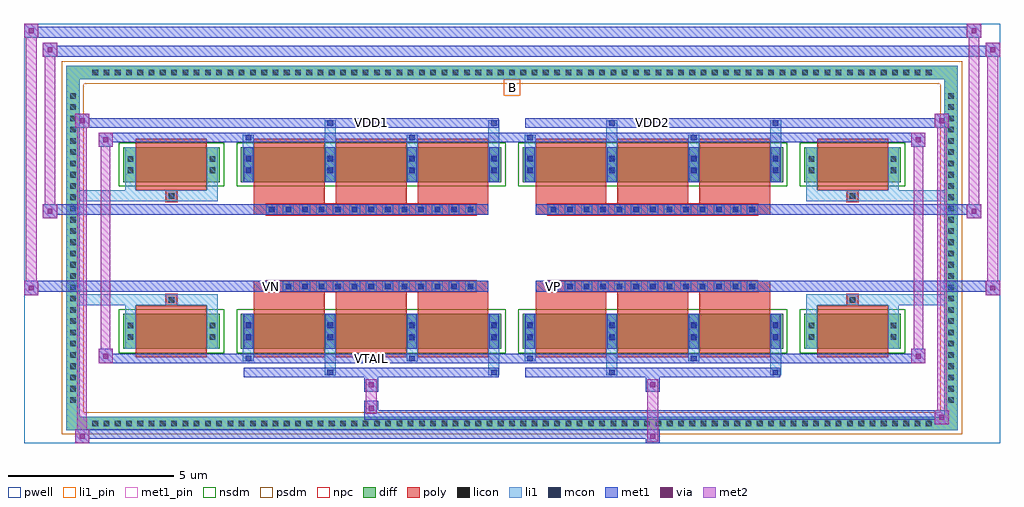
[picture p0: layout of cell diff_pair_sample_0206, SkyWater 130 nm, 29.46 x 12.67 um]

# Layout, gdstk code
import gdstk
lib = gdstk.Library(unit=1e-6, precision=5e-09)
def R(c, l, rs):  # rectangles x0, y0, x1, y1
    for r in rs: c.add(gdstk.rectangle(r[:2], r[2:], *l))
def A(c, l, x, y, w, h, nx, ny, dx, dy):  # array of equal rectangles
    R(c, l, [(x+i*dx, y+j*dy, x+i*dx+w, y+j*dy+h) for i in range(nx) for j in range(ny)])
def P(c, l, *ps):  # polygons
    for p in ps: c.add(gdstk.Polygon(p, *l))
pwell = (64, 44)
diff = (65, 20)
poly = (66, 20)
licon = (66, 44)
li1_pin = (67, 16)
li1 = (67, 20)
mcon = (67, 44)
met1_pin = (68, 16)
met1 = (68, 20)
via = (68, 44)
met2 = (69, 20)
nsdm = (93, 44)
psdm = (94, 20)
npc = (95, 20)

diff_pair_sample_0206 = lib.new_cell('diff_pair_sample_0206')
R(diff_pair_sample_0206, pwell, [(-14.73,-5.9,14.73,6.77), (-12.05,-4.09,-0.01,-0.795), (0.01,-4.09,12.05,-0.795), (-12.05,0.795,-0.01,4.09), (0.01,0.795,12.05,4.09)])
A(diff_pair_sample_0206, diff, -12.785, -5.5, 0.41, 0.41, 75, 2, 0.34, 10.59)
A(diff_pair_sample_0206, diff, -13.46, -4.795, 0.41, 0.41, 1, 28, 0, 0.34)
A(diff_pair_sample_0206, diff, 13.05, -4.795, 0.41, 0.41, 1, 28, 0, 0.34)
R(diff_pair_sample_0206, diff, [(-12.785,-5.5,12.785,-5.09), (-13.46,-4.795,-13.05,4.795), (13.05,-4.795,13.46,4.795), (-11.74,-3.045,-8.82,-1.985), (-8.18,-3.045,-0.32,-1.985), (0.32,-3.045,8.18,-1.985), (8.82,-3.045,11.74,-1.985), (-11.74,1.985,-8.82,3.045), (-8.18,1.985,-0.32,3.045), (0.32,1.985,8.18,3.045), (8.82,1.985,11.74,3.045), (-12.785,5.09,12.785,5.5)])
P(diff_pair_sample_0206, diff, [(13.46,5.5),(-13.46,5.5),(-13.46,-5.09),(-13.05,-5.09),(-13.05,5.09),(13.05,5.09),(13.05,-5.09),(-13.05,-5.09),(-13.46,-5.09),(-13.46,-5.5),(13.46,-5.5)])
A(diff_pair_sample_0206, poly, -7.79, -3.295, 2.14, 1.56, 3, 2, 2.47, 5.03)
A(diff_pair_sample_0206, poly, 0.71, -3.295, 2.14, 1.56, 3, 2, 2.47, 5.03)
A(diff_pair_sample_0206, poly, -7.79, -1.735, 2.14, 0.41, 3, 2, 2.47, 3.06)
A(diff_pair_sample_0206, poly, 0.71, -1.735, 2.14, 0.41, 3, 2, 2.47, 3.06)
A(diff_pair_sample_0206, poly, -7.415, -1.325, 0.33, 0.33, 13, 2, 0.5, 2.32)
A(diff_pair_sample_0206, poly, 1.085, -1.325, 0.33, 0.33, 13, 2, 0.5, 2.32)
R(diff_pair_sample_0206, poly, [(-11.35,-3.295,-9.21,-1.735), (9.21,-3.295,11.35,-1.735), (-10.445,-1.735,-10.115,-1.405), (-10.445,-1.735,-10.115,-1.405), (10.115,-1.735,10.445,-1.405), (10.115,-1.735,10.445,-1.405), (-7.79,-1.325,-0.71,-0.995), (0.71,-1.325,7.79,-0.995), (-7.79,0.995,-0.71,1.325), (0.71,0.995,7.79,1.325), (-10.445,1.405,-10.115,1.735), (-10.445,1.405,-10.115,1.735), (10.115,1.405,10.445,1.735), (10.115,1.405,10.445,1.735), (-11.35,1.735,-9.21,3.295), (9.21,1.735,11.35,3.295)])
A(diff_pair_sample_0206, licon, -12.665, -5.38, 0.17, 0.17, 75, 2, 0.34, 10.59)
A(diff_pair_sample_0206, licon, -13.34, -4.675, 0.17, 0.17, 1, 28, 0, 0.34)
A(diff_pair_sample_0206, licon, 13.17, -4.675, 0.17, 0.17, 1, 28, 0, 0.34)
A(diff_pair_sample_0206, licon, -8.04, -2.77, 0.17, 0.17, 4, 2, 2.47, 0.34)
A(diff_pair_sample_0206, licon, 0.46, -2.77, 0.17, 0.17, 4, 2, 2.47, 0.34)
A(diff_pair_sample_0206, licon, -7.335, -1.245, 0.17, 0.17, 13, 2, 0.5, 2.32)
A(diff_pair_sample_0206, licon, 1.165, -1.245, 0.17, 0.17, 13, 2, 0.5, 2.32)
A(diff_pair_sample_0206, licon, -8.04, 2.26, 0.17, 0.17, 4, 2, 2.47, 0.34)
A(diff_pair_sample_0206, licon, 0.46, 2.26, 0.17, 0.17, 4, 2, 2.47, 0.34)
R(diff_pair_sample_0206, licon, [(-11.6,-2.77,-11.43,-2.6), (-9.13,-2.77,-8.96,-2.6), (8.96,-2.77,9.13,-2.6), (11.43,-2.77,11.6,-2.6), (-11.6,-2.43,-11.43,-2.26), (-9.13,-2.43,-8.96,-2.26), (8.96,-2.43,9.13,-2.26), (11.43,-2.43,11.6,-2.26), (-10.365,-1.655,-10.195,-1.485), (10.195,-1.655,10.365,-1.485), (-10.365,1.485,-10.195,1.655), (10.195,1.485,10.365,1.655), (-11.6,2.26,-11.43,2.43), (-9.13,2.26,-8.96,2.43), (8.96,2.26,9.13,2.43), (11.43,2.26,11.6,2.43), (-11.6,2.6,-11.43,2.77), (-9.13,2.6,-8.96,2.77), (8.96,2.6,9.13,2.77), (11.43,2.6,11.6,2.77)])
R(diff_pair_sample_0206, li1_pin, [(-0.25,4.59,0.25,5.09)])
A(diff_pair_sample_0206, li1, -12.745, -5.46, 0.33, 0.33, 75, 2, 0.34, 10.59)
A(diff_pair_sample_0206, li1, -13.42, -4.755, 0.33, 0.33, 1, 28, 0, 0.34)
A(diff_pair_sample_0206, li1, 13.09, -4.755, 0.33, 0.33, 1, 28, 0, 0.34)
A(diff_pair_sample_0206, li1, -8.12, -3.045, 0.33, 1.06, 4, 2, 2.47, 5.03)
A(diff_pair_sample_0206, li1, 0.38, -3.045, 0.33, 1.06, 4, 2, 2.47, 5.03)
A(diff_pair_sample_0206, li1, -8.12, -2.85, 0.33, 0.33, 4, 2, 2.47, 0.34)
A(diff_pair_sample_0206, li1, 0.38, -2.85, 0.33, 0.33, 4, 2, 2.47, 0.34)
A(diff_pair_sample_0206, li1, -8.04, -2.78, 0.17, 0.17, 4, 2, 2.47, 0.36)
A(diff_pair_sample_0206, li1, -8.04, -2.78, 0.17, 0.53, 4, 2, 2.47, 5.03)
A(diff_pair_sample_0206, li1, 0.46, -2.78, 0.17, 0.17, 4, 2, 2.47, 0.36)
A(diff_pair_sample_0206, li1, 0.46, -2.78, 0.17, 0.53, 4, 2, 2.47, 5.03)
A(diff_pair_sample_0206, li1, -7.415, -1.325, 0.33, 0.33, 13, 2, 0.5, 2.32)
A(diff_pair_sample_0206, li1, 1.085, -1.325, 0.33, 0.33, 13, 2, 0.5, 2.32)
A(diff_pair_sample_0206, li1, -8.12, 2.18, 0.33, 0.33, 4, 2, 2.47, 0.34)
A(diff_pair_sample_0206, li1, 0.38, 2.18, 0.33, 0.33, 4, 2, 2.47, 0.34)
A(diff_pair_sample_0206, li1, -8.04, 2.25, 0.17, 0.17, 4, 2, 2.47, 0.36)
A(diff_pair_sample_0206, li1, 0.46, 2.25, 0.17, 0.17, 4, 2, 2.47, 0.36)
R(diff_pair_sample_0206, li1, [(-13.46,-5.5,-13.05,-5.09), (-13.46,-5.5,-13.05,-5.09), (-13.05,-5.5,13.05,-5.09), (13.05,-5.5,13.46,-5.09), (13.05,-5.5,13.46,-5.09), (-13.46,-5.09,-13.05,5.09), (13.05,-5.09,13.46,5.09), (-5.65,-3.85,-5.32,-3.045), (-5.57,-3.85,-5.4,-3.68), (-0.71,-3.85,-0.38,-3.045), (-0.63,-3.85,-0.46,-3.68), (2.85,-3.85,3.18,-3.045), (2.93,-3.85,3.1,-3.68), (7.79,-3.85,8.12,-3.045), (7.87,-3.85,8.04,-3.68), (-8.12,-3.42,-7.79,-3.045), (-8.04,-3.42,-7.87,-3.25), (-3.18,-3.42,-2.85,-3.045), (-3.1,-3.42,-2.93,-3.25), (0.38,-3.42,0.71,-3.045), (0.46,-3.42,0.63,-3.25), (5.32,-3.42,5.65,-3.045), (5.4,-3.42,5.57,-3.25), (-11.68,-3.045,-11.35,-1.985), (-9.21,-3.045,-8.88,-1.985), (8.88,-3.045,9.21,-1.985), (11.35,-3.045,11.68,-1.985), (-11.68,-2.85,-11.35,-2.52), (-9.21,-2.85,-8.88,-2.52), (8.88,-2.85,9.21,-2.52), (11.35,-2.85,11.68,-2.52), (-11.68,-2.51,-11.35,-2.18), (-9.21,-2.51,-8.88,-2.18), (8.88,-2.51,9.21,-2.18), (11.35,-2.51,11.68,-2.18), (-11.68,-1.985,-11.35,-1.405), (-9.21,-1.985,-8.88,-1.405), (8.88,-1.985,9.21,-1.405), (11.35,-1.985,11.68,-1.405), (-13.46,-1.735,-10.445,-1.405), (-11.68,-1.735,-10.445,-1.405), (-10.445,-1.735,-10.115,-1.405), (-10.115,-1.735,-8.88,-1.405), (8.88,-1.735,10.115,-1.405), (10.115,-1.735,10.445,-1.405), (10.115,-1.735,13.46,-1.405), (10.445,-1.735,11.68,-1.405), (-13.46,1.405,-10.445,1.735), (-11.68,1.405,-10.445,1.735), (-11.68,1.405,-11.35,1.985), (-10.445,1.405,-10.115,1.735), (-10.115,1.405,-8.88,1.735), (-9.21,1.405,-8.88,1.985), (8.88,1.405,10.115,1.735), (8.88,1.405,9.21,1.985), (10.115,1.405,10.445,1.735), (10.115,1.405,13.46,1.735), (10.445,1.405,11.68,1.735), (11.35,1.405,11.68,1.985), (-11.68,1.985,-11.35,3.045), (-9.21,1.985,-8.88,3.045), (8.88,1.985,9.21,3.045), (11.35,1.985,11.68,3.045), (-11.68,2.18,-11.35,2.51), (-9.21,2.18,-8.88,2.51), (8.88,2.18,9.21,2.51), (11.35,2.18,11.68,2.51), (-11.68,2.52,-11.35,2.85), (-9.21,2.52,-8.88,2.85), (8.88,2.52,9.21,2.85), (11.35,2.52,11.68,2.85), (-8.12,3.045,-7.79,3.42), (-5.65,3.045,-5.32,3.85), (-3.18,3.045,-2.85,3.42), (-0.71,3.045,-0.38,3.85), (0.38,3.045,0.71,3.42), (2.85,3.045,3.18,3.85), (5.32,3.045,5.65,3.42), (7.79,3.045,8.12,3.85), (-8.04,3.25,-7.87,3.42), (-3.1,3.25,-2.93,3.42), (0.46,3.25,0.63,3.42), (5.4,3.25,5.57,3.42), (-5.57,3.68,-5.4,3.85), (-0.63,3.68,-0.46,3.85), (2.93,3.68,3.1,3.85), (7.87,3.68,8.04,3.85), (-13.46,5.09,-13.05,5.5), (-13.46,5.09,-13.05,5.5), (-13.05,5.09,13.05,5.5), (13.05,5.09,13.46,5.5), (13.05,5.09,13.46,5.5)])
A(diff_pair_sample_0206, mcon, -8.04, -2.78, 0.17, 0.17, 4, 2, 2.47, 0.36)
A(diff_pair_sample_0206, mcon, 0.46, -2.78, 0.17, 0.17, 4, 2, 2.47, 0.36)
A(diff_pair_sample_0206, mcon, -7.335, -1.245, 0.17, 0.17, 13, 2, 0.5, 2.32)
A(diff_pair_sample_0206, mcon, 1.165, -1.245, 0.17, 0.17, 13, 2, 0.5, 2.32)
A(diff_pair_sample_0206, mcon, -8.04, 2.25, 0.17, 0.17, 4, 2, 2.47, 0.36)
A(diff_pair_sample_0206, mcon, 0.46, 2.25, 0.17, 0.17, 4, 2, 2.47, 0.36)
R(diff_pair_sample_0206, mcon, [(-5.57,-3.85,-5.4,-3.68), (-0.63,-3.85,-0.46,-3.68), (2.93,-3.85,3.1,-3.68), (7.87,-3.85,8.04,-3.68), (-8.04,-3.42,-7.87,-3.25), (-3.1,-3.42,-2.93,-3.25), (0.46,-3.42,0.63,-3.25), (5.4,-3.42,5.57,-3.25), (-8.04,3.25,-7.87,3.42), (-3.1,3.25,-2.93,3.42), (0.46,3.25,0.63,3.42), (5.4,3.25,5.57,3.42), (-5.57,3.68,-5.4,3.85), (-0.63,3.68,-0.46,3.85), (2.93,3.68,3.1,3.85), (7.87,3.68,8.04,3.85)])
R(diff_pair_sample_0206, met1_pin, [(-4.385,-3.46,-4.115,-3.19), (-7.385,-1.285,-7.115,-1.015), (1.115,-1.285,1.385,-1.015), (-4.385,3.64,-4.115,3.91), (4.115,3.64,4.385,3.91)])
A(diff_pair_sample_0206, met1, -8.1, -3.045, 0.29, 1.06, 4, 2, 2.47, 5.03)
A(diff_pair_sample_0206, met1, 0.4, -3.045, 0.29, 1.06, 4, 2, 2.47, 5.03)
A(diff_pair_sample_0206, met1, -8.1, -2.84, 0.29, 0.29, 4, 2, 2.47, 0.36)
A(diff_pair_sample_0206, met1, 0.4, -2.84, 0.29, 0.29, 4, 2, 2.47, 0.36)
A(diff_pair_sample_0206, met1, -7.395, -1.305, 0.29, 0.29, 13, 2, 0.5, 2.32)
A(diff_pair_sample_0206, met1, 1.105, -1.305, 0.29, 0.29, 13, 2, 0.5, 2.32)
A(diff_pair_sample_0206, met1, -8.1, 2.19, 0.29, 0.29, 4, 2, 2.47, 0.36)
A(diff_pair_sample_0206, met1, 0.4, 2.19, 0.29, 0.29, 4, 2, 2.47, 0.36)
R(diff_pair_sample_0206, met1, [(-13.19,-5.9,-12.76,-5.47), (4.035,-5.9,4.465,-5.47), (-13.19,-5.76,4.465,-5.47), (12.76,-5.33,13.19,-4.9), (-4.465,-5.19,13.19,-4.9), (-4.465,-5.05,-4.035,-4.62), (-4.465,-4.34,-4.035,-3.91), (4.035,-4.34,4.465,-3.91), (-8.1,-3.91,-0.4,-3.62), (-5.63,-3.91,-5.34,-3.62), (-0.69,-3.91,-0.4,-3.62), (0.4,-3.91,8.1,-3.62), (2.87,-3.91,3.16,-3.62), (7.81,-3.91,8.1,-3.62), (-12.48,-3.48,-12.05,-3.05), (-12.48,-3.48,-8.1,-3.19), (-8.1,-3.48,-7.81,-3.19), (-8.1,-3.48,-0.4,-3.19), (-3.16,-3.48,-2.87,-3.19), (-0.4,-3.48,0.4,-3.19), (0.4,-3.48,0.69,-3.19), (0.4,-3.48,8.1,-3.19), (5.34,-3.48,5.63,-3.19), (8.1,-3.48,12.48,-3.19), (12.05,-3.48,12.48,-3.05), (-14.73,-1.425,-14.3,-0.995), (14.3,-1.425,14.73,-0.995), (-14.73,-1.325,-0.71,-0.995), (-7.79,-1.325,-0.71,-0.995), (0.71,-1.325,7.79,-0.995), (0.71,-1.325,14.73,-0.995), (-14.16,0.895,-13.73,1.325), (13.73,0.895,14.16,1.325), (-14.16,0.995,-7.79,1.325), (-7.79,0.995,-0.71,1.325), (0.71,0.995,7.79,1.325), (7.79,0.995,14.16,1.325), (-12.48,3.05,-12.05,3.48), (12.05,3.05,12.48,3.48), (-12.48,3.19,-8.1,3.48), (-8.1,3.19,-7.81,3.48), (-8.1,3.19,-0.4,3.48), (-3.16,3.19,-2.87,3.48), (-0.4,3.19,0.4,3.48), (0.4,3.19,0.69,3.48), (0.4,3.19,8.1,3.48), (5.34,3.19,5.63,3.48), (8.1,3.19,12.48,3.48), (-13.19,3.62,-12.76,4.05), (-13.19,3.62,-8.1,3.91), (-8.1,3.62,-0.4,3.91), (-5.63,3.62,-5.34,3.91), (-0.69,3.62,-0.4,3.91), (0.4,3.62,8.1,3.91), (2.87,3.62,3.16,3.91), (7.81,3.62,8.1,3.91), (8.1,3.62,13.19,3.91), (12.76,3.62,13.19,4.05), (-14.16,5.77,-13.73,6.2), (-14.16,5.77,-12.05,6.1), (-12.05,5.77,12.05,6.1), (12.05,5.77,14.73,6.1), (14.3,5.77,14.73,6.2), (-14.73,6.34,-14.3,6.77), (-14.73,6.34,-12.05,6.67), (-12.05,6.34,12.05,6.67), (12.05,6.34,14.16,6.67), (13.73,6.34,14.16,6.77)])
R(diff_pair_sample_0206, via, [(-13.05,-5.76,-12.9,-5.61), (4.175,-5.76,4.325,-5.61), (12.9,-5.19,13.05,-5.04), (-4.325,-4.91,-4.175,-4.76), (-4.325,-4.2,-4.175,-4.05), (4.175,-4.2,4.325,-4.05), (-12.34,-3.34,-12.19,-3.19), (12.19,-3.34,12.34,-3.19), (-14.59,-1.285,-14.44,-1.135), (14.44,-1.285,14.59,-1.135), (-14.02,1.035,-13.87,1.185), (13.87,1.035,14.02,1.185), (-12.34,3.19,-12.19,3.34), (12.19,3.19,12.34,3.34), (-13.05,3.76,-12.9,3.91), (12.9,3.76,13.05,3.91), (-14.02,5.91,-13.87,6.06), (14.44,5.91,14.59,6.06), (-14.59,6.48,-14.44,6.63), (13.87,6.48,14.02,6.63)])
R(diff_pair_sample_0206, met2, [(-13.19,-5.9,-12.76,-5.47), (-13.12,-5.9,-12.83,4.05), (-12.83,-5.9,-12.76,-5.47), (-13.14,-5.85,-12.81,-5.52), (4.085,-5.85,4.415,-5.52), (4.085,-5.52,4.415,-4.29), (12.76,-5.33,13.19,-4.9), (12.83,-5.33,13.12,4.05), (13.12,-5.33,13.19,-4.9), (12.81,-5.28,13.14,-4.95), (-4.415,-5,-4.085,-4.67), (-4.415,-4.67,-4.085,-4.29), (-4.415,-4.29,-4.085,-3.96), (4.085,-4.29,4.415,-3.96), (-12.48,-3.48,-12.05,-3.05), (-12.41,-3.48,-12.12,3.48), (-12.12,-3.48,-12.05,-3.05), (12.05,-3.48,12.48,-3.05), (12.12,-3.48,12.41,3.48), (12.41,-3.48,12.48,-3.05), (-12.43,-3.43,-12.1,-3.1), (12.1,-3.43,12.43,-3.1), (-14.73,-1.425,-14.3,-0.995), (-14.68,-1.425,-14.35,6.77), (-14.35,-1.425,-14.3,-0.995), (14.3,-1.425,14.73,-0.995), (14.35,-1.425,14.68,6.2), (14.68,-1.425,14.73,-0.995), (-14.68,-1.375,-14.35,-1.045), (14.35,-1.375,14.68,-1.045), (-14.16,0.895,-13.73,1.325), (-14.11,0.895,-13.78,6.2), (-13.78,0.895,-13.73,1.325), (13.73,0.895,14.16,1.325), (13.78,0.895,14.11,6.77), (14.11,0.895,14.16,1.325), (-14.11,0.945,-13.78,1.275), (13.78,0.945,14.11,1.275), (-12.48,3.05,-12.05,3.48), (-12.12,3.05,-12.05,3.48), (12.05,3.05,12.48,3.48), (12.41,3.05,12.48,3.48), (-12.43,3.1,-12.1,3.43), (12.1,3.1,12.43,3.43), (-13.19,3.62,-12.76,4.05), (-12.83,3.62,-12.76,4.05), (12.76,3.62,13.19,4.05), (13.12,3.62,13.19,4.05), (-13.14,3.67,-12.81,4), (12.81,3.67,13.14,4), (-14.16,5.77,-13.73,6.2), (-13.78,5.77,-13.73,6.2), (14.3,5.77,14.73,6.2), (14.68,5.77,14.73,6.2), (-14.11,5.82,-13.78,6.15), (14.35,5.82,14.68,6.15), (-14.73,6.34,-14.3,6.77), (-14.35,6.34,-14.3,6.77), (13.73,6.34,14.16,6.77), (14.11,6.34,14.16,6.77), (-14.68,6.39,-14.35,6.72), (13.78,6.39,14.11,6.72)])
R(diff_pair_sample_0206, nsdm, [(-11.87,-3.175,-8.69,-1.855), (-8.31,-3.175,-0.19,-1.855), (0.19,-3.175,8.31,-1.855), (8.69,-3.175,11.87,-1.855), (-11.87,1.855,-8.69,3.175), (-8.31,1.855,-0.19,3.175), (0.19,1.855,8.31,3.175), (8.69,1.855,11.87,3.175)])
P(diff_pair_sample_0206, psdm, [(13.59,5.63),(-13.59,5.63),(-13.59,-4.96),(-12.92,-4.96),(-12.92,4.96),(12.92,4.96),(12.92,-4.96),(-12.92,-4.96),(-13.59,-4.96),(-13.59,-5.63),(13.59,-5.63)])
A(diff_pair_sample_0206, npc, -7.435, -1.345, 0.37, 0.37, 13, 2, 0.5, 2.32)
A(diff_pair_sample_0206, npc, 1.065, -1.345, 0.37, 0.37, 13, 2, 0.5, 2.32)
R(diff_pair_sample_0206, npc, [(-10.465,-1.755,-10.095,-1.385), (10.095,-1.755,10.465,-1.385), (-7.435,-1.345,-6.565,-0.975), (-7.435,-1.345,-6.565,-0.975), (-6.935,-1.345,-6.065,-0.975), (-6.935,-1.345,-6.065,-0.975), (-6.435,-1.345,-5.565,-0.975), (-6.435,-1.345,-5.565,-0.975), (-5.935,-1.345,-5.065,-0.975), (-5.935,-1.345,-5.065,-0.975), (-5.435,-1.345,-4.565,-0.975), (-5.435,-1.345,-4.565,-0.975), (-4.935,-1.345,-4.065,-0.975), (-4.935,-1.345,-4.065,-0.975), (-4.435,-1.345,-3.565,-0.975), (-4.435,-1.345,-3.565,-0.975), (-3.935,-1.345,-3.065,-0.975), (-3.935,-1.345,-3.065,-0.975), (-3.435,-1.345,-2.565,-0.975), (-3.435,-1.345,-2.565,-0.975), (-2.935,-1.345,-2.065,-0.975), (-2.935,-1.345,-2.065,-0.975), (-2.435,-1.345,-1.565,-0.975), (-2.435,-1.345,-1.565,-0.975), (-1.935,-1.345,-1.065,-0.975), (-1.935,-1.345,-1.065,-0.975), (1.065,-1.345,1.935,-0.975), (1.065,-1.345,1.935,-0.975), (1.565,-1.345,2.435,-0.975), (1.565,-1.345,2.435,-0.975), (2.065,-1.345,2.935,-0.975), (2.065,-1.345,2.935,-0.975), (2.565,-1.345,3.435,-0.975), (2.565,-1.345,3.435,-0.975), (3.065,-1.345,3.935,-0.975), (3.065,-1.345,3.935,-0.975), (3.565,-1.345,4.435,-0.975), (3.565,-1.345,4.435,-0.975), (4.065,-1.345,4.935,-0.975), (4.065,-1.345,4.935,-0.975), (4.565,-1.345,5.435,-0.975), (4.565,-1.345,5.435,-0.975), (5.065,-1.345,5.935,-0.975), (5.065,-1.345,5.935,-0.975), (5.565,-1.345,6.435,-0.975), (5.565,-1.345,6.435,-0.975), (6.065,-1.345,6.935,-0.975), (6.065,-1.345,6.935,-0.975), (6.565,-1.345,7.435,-0.975), (6.565,-1.345,7.435,-0.975), (-7.435,0.975,-6.565,1.345), (-7.435,0.975,-6.565,1.345), (-6.935,0.975,-6.065,1.345), (-6.935,0.975,-6.065,1.345), (-6.435,0.975,-5.565,1.345), (-6.435,0.975,-5.565,1.345), (-5.935,0.975,-5.065,1.345), (-5.935,0.975,-5.065,1.345), (-5.435,0.975,-4.565,1.345), (-5.435,0.975,-4.565,1.345), (-4.935,0.975,-4.065,1.345), (-4.935,0.975,-4.065,1.345), (-4.435,0.975,-3.565,1.345), (-4.435,0.975,-3.565,1.345), (-3.935,0.975,-3.065,1.345), (-3.935,0.975,-3.065,1.345), (-3.435,0.975,-2.565,1.345), (-3.435,0.975,-2.565,1.345), (-2.935,0.975,-2.065,1.345), (-2.935,0.975,-2.065,1.345), (-2.435,0.975,-1.565,1.345), (-2.435,0.975,-1.565,1.345), (-1.935,0.975,-1.065,1.345), (-1.935,0.975,-1.065,1.345), (1.065,0.975,1.935,1.345), (1.065,0.975,1.935,1.345), (1.565,0.975,2.435,1.345), (1.565,0.975,2.435,1.345), (2.065,0.975,2.935,1.345), (2.065,0.975,2.935,1.345), (2.565,0.975,3.435,1.345), (2.565,0.975,3.435,1.345), (3.065,0.975,3.935,1.345), (3.065,0.975,3.935,1.345), (3.565,0.975,4.435,1.345), (3.565,0.975,4.435,1.345), (4.065,0.975,4.935,1.345), (4.065,0.975,4.935,1.345), (4.565,0.975,5.435,1.345), (4.565,0.975,5.435,1.345), (5.065,0.975,5.935,1.345), (5.065,0.975,5.935,1.345), (5.565,0.975,6.435,1.345), (5.565,0.975,6.435,1.345), (6.065,0.975,6.935,1.345), (6.065,0.975,6.935,1.345), (6.565,0.975,7.435,1.345), (6.565,0.975,7.435,1.345), (-10.465,1.385,-10.095,1.755), (10.095,1.385,10.465,1.755)])
diff_pair_sample_0206.add(gdstk.Label('VTAIL', (-4.25,-3.325), layer=68, texttype=5))
diff_pair_sample_0206.add(gdstk.Label('VN', (-7.25,-1.15), layer=68, texttype=5))
diff_pair_sample_0206.add(gdstk.Label('VP', (1.25,-1.15), layer=68, texttype=5))
diff_pair_sample_0206.add(gdstk.Label('B', (0,4.84), layer=67, texttype=5))
diff_pair_sample_0206.add(gdstk.Label('VDD2', (4.25,3.775), layer=68, texttype=5))
diff_pair_sample_0206.add(gdstk.Label('VDD1', (-4.25,3.775), layer=68, texttype=5))

lib.write_gds('diff_pair_sample_0206.gds')
